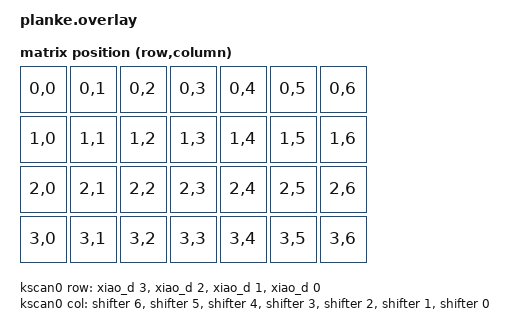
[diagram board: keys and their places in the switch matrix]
#include <dt-bindings/zmk/matrix_transform.h>

/ {
     chosen {
        zmk,kscan = &kscan0;
        zmk,matrix-transform = &default_transform;
     };

     kscan0: kscan {
     compatible = "zmk,kscan-gpio-matrix";
     diode-direction = "col2row";
     row-gpios = < &xiao_d 3 (GPIO_ACTIVE_HIGH | GPIO_PULL_DOWN) >,
                 < &xiao_d 2 (GPIO_ACTIVE_HIGH | GPIO_PULL_DOWN) >,
                 < &xiao_d 1 (GPIO_ACTIVE_HIGH | GPIO_PULL_DOWN) >,
                 < &xiao_d 0 (GPIO_ACTIVE_HIGH | GPIO_PULL_DOWN) >;

     col-gpios = < &shifter 6 GPIO_ACTIVE_HIGH >,
                 < &shifter 5 GPIO_ACTIVE_HIGH >,
                 < &shifter 4 GPIO_ACTIVE_HIGH >,
                 < &shifter 3 GPIO_ACTIVE_HIGH >,
                 < &shifter 2 GPIO_ACTIVE_HIGH >,
                 < &shifter 1 GPIO_ACTIVE_HIGH >,
                 < &shifter 0 GPIO_ACTIVE_HIGH >;

     };

     default_transform: keymap_transform0 {
        compatible = "zmk,matrix-transform";
        columns = <7>;
        rows = <4>;
        map = <
            RC(0,0) RC(0,1) RC(0,2) RC(0,3) RC(0,4) RC(0,5) RC(0,6)   
            RC(1,0) RC(1,1) RC(1,2) RC(1,3) RC(1,4) RC(1,5) RC(1,6)        
            RC(2,0) RC(2,1) RC(2,2) RC(2,3) RC(2,4) RC(2,5) RC(2,6)
            RC(3,0) RC(3,1) RC(3,2) RC(3,3) RC(3,4) RC(3,5) RC(3,6)
        >;
    };
};

&spi2_default {
    group1 {
        psels = <NRF_PSEL(SPIM_SCK, 1, 13)>,
            <NRF_PSEL(SPIM_MOSI, 1, 15)>;
    };
};

&spi2_sleep {
    group1 {
        psels = <NRF_PSEL(SPIM_SCK, 1, 13)>,
            <NRF_PSEL(SPIM_MOSI, 1, 15)>;
    };
};

&xiao_spi {
    status = "okay";
    cs-gpios = <&xiao_d 6 GPIO_ACTIVE_LOW>;
    shifter: 595@0 {
        compatible = "zmk,gpio-595";
        status = "okay";
        gpio-controller;
        spi-max-frequency = <200000>;
        reg = <0>;
        #gpio-cells = <2>;
        ngpios = <8>;
    };
};

#include <dt-bindings/led/led.h>

&pinctrl {
    spi3_default: spi3_default {
        group1 {
            psels = <NRF_PSEL(SPIM_MOSI, 1, 12)>;
        };
    };

    spi3_sleep: spi3_sleep {
        group1 {
            psels = <NRF_PSEL(SPIM_MOSI, 1, 12)>;
            low-power-enable;
        };
    };
};

&spi3 {
  compatible = "nordic,nrf-spim";
  status = "okay";

  pinctrl-0 = <&spi3_default>;
  pinctrl-1 = <&spi3_sleep>;
  pinctrl-names = "default", "sleep";

  led_strip: sk6812@0 {
    compatible = "worldsemi,sk6812-spi";

    /* SPI */
    reg = <0>; /* ignored, but necessary for SPI bindings */
    spi-max-frequency = <4000000>;

    /* WS2812 */
    chain-length = <10>; /* number of LEDs */
    spi-one-frame = <0x70>;
    spi-zero-frame = <0x40>;
    color-mapping = <LED_COLOR_ID_GREEN
                          LED_COLOR_ID_RED
                          LED_COLOR_ID_BLUE>;
  };
};
